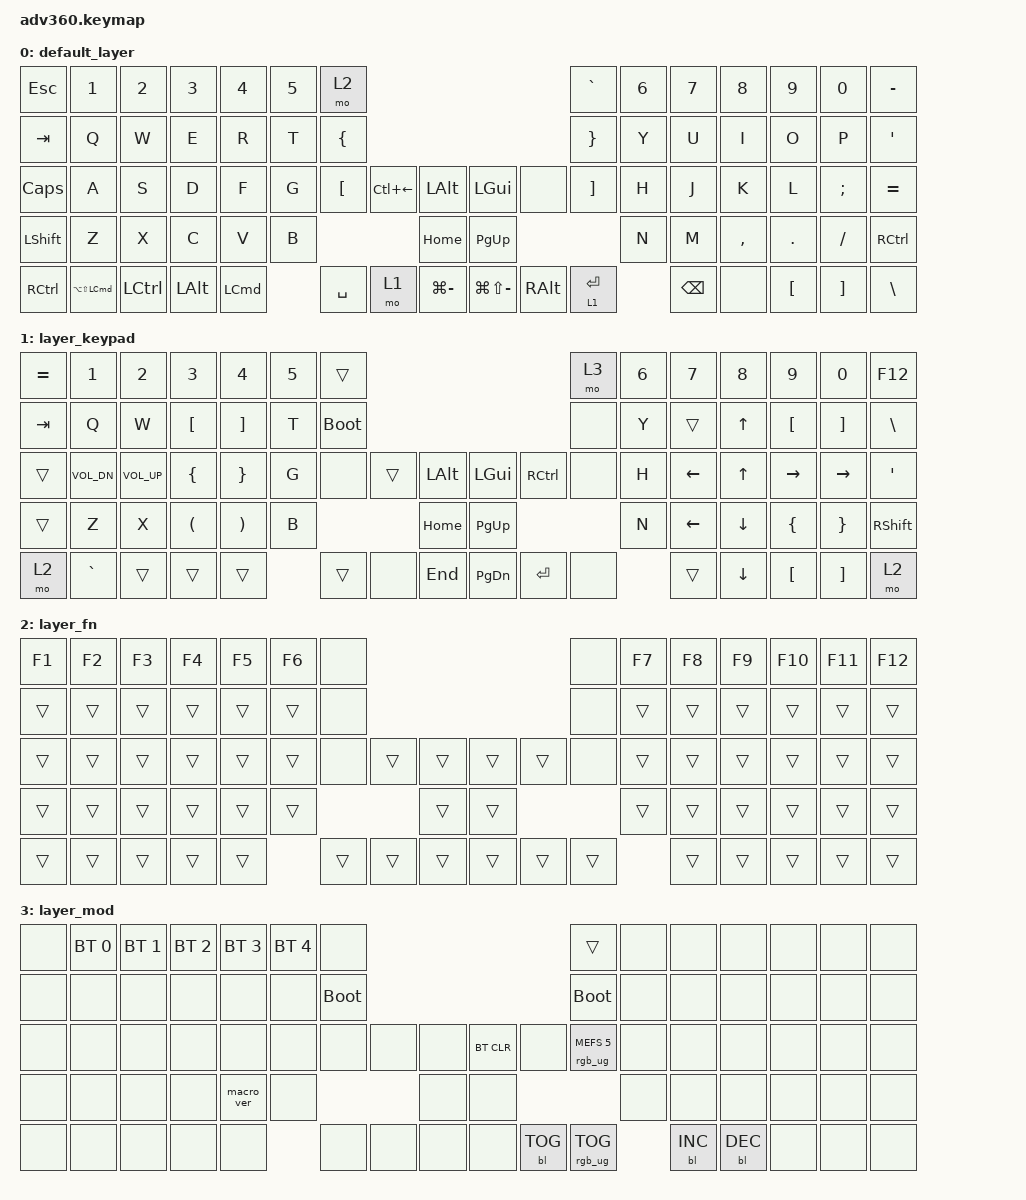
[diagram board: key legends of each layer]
/*
 * Copyright (c) 2020 The ZMK Contributors
 *
 * SPDX-License-Identifier: MIT
 */
/* THIS FILE WAS GENERATED!
 *
 * This file was generated automatically. You may or may not want to
 * edit it directly.
 */

#include <behaviors.dtsi>
#include <dt-bindings/zmk/backlight.h>
#include <dt-bindings/zmk/bt.h>
#include <dt-bindings/zmk/keys.h>
#include <dt-bindings/zmk/rgb.h>

/ {
    behaviors {
        #include "macros.dtsi"
    #include "version.dtsi"

        hm: homerow_mods {
            compatible = "zmk,behavior-hold-tap";
            label = "HOMEROW_MODS";
            #binding-cells = <2>;
            tapping-term-ms = <200>;
            quick_tap_ms = <175>;
            flavor = "tap-preferred";
            bindings = <&kp>, <&kp>;
        };
    };

    keymap {
        compatible = "zmk,keymap";

        default_layer {
            bindings = <
&kp ESC            &kp N1                    &kp N2            &kp N3        &kp N4            &kp N5  &mo 2                                                                                &kp GRAVE          &kp N6  &kp N7         &kp N8     &kp N9    &kp N0    &kp MINUS
&kp TAB            &kp Q                     &kp W             &kp E         &kp R             &kp T   &kp LEFT_BRACE                                                                       &kp RIGHT_BRACE    &kp Y   &kp U          &kp I      &kp O     &kp P     &kp APOS
&kp CAPS           &kp A                     &kp S             &kp D         &kp F             &kp G   &kp LEFT_BRACKET  &kp LC(LEFT)  &kp LALT           &kp LGUI           &none          &kp RIGHT_BRACKET  &kp H   &kp J          &kp K      &kp L     &kp SEMI  &kp EQUAL
&kp LSHFT          &kp Z                     &kp X             &kp C         &kp V             &kp B                                   &kp HOME           &kp PG_UP                                            &kp N   &kp M          &kp COMMA  &kp DOT   &kp FSLH  &kp RIGHT_CONTROL
&kp RIGHT_CONTROL  &kp LA(LS(LEFT_COMMAND))  &kp LEFT_CONTROL  &kp LEFT_ALT  &kp LEFT_COMMAND          &kp SPACE         &mo 1         &kp LG(MINUS)      &kp LG(LS(MINUS))  &kp RIGHT_ALT  &lt 1 ENTER                &kp BACKSPACE  &none      &kp LBKT  &kp RBKT  &kp BACKSLASH
            >;
        };

        layer_keypad {
            bindings = <
&kp EQUAL  &kp N1        &kp N2        &kp N3                &kp N4                 &kp N5  &trans                                                   &mo 3  &kp N6  &kp N7    &kp N8        &kp N9     &kp N0     &kp F12
&kp TAB    &kp Q         &kp W         &kp LEFT_BRACKET      &kp RIGHT_BRACKET      &kp T   &bootloader                                              &none  &kp Y   &trans    &kp UP_ARROW  &kp LBKT   &kp RBKT   &kp BSLH
&trans     &kp C_VOL_DN  &kp C_VOL_UP  &kp LEFT_BRACE        &kp RIGHT_BRACE        &kp G   &none        &trans  &kp LALT      &kp LGUI   &kp RCTRL  &none  &kp H   &kp LEFT  &kp UP_ARROW  &kp RIGHT  &kp RIGHT  &kp SQT
&trans     &kp Z         &kp X         &kp LEFT_PARENTHESIS  &kp RIGHT_PARENTHESIS  &kp B                        &kp HOME      &kp PG_UP                    &kp N   &kp LEFT  &kp DOWN      &kp LBRC   &kp RBRC   &kp RSHFT
&mo 2      &kp GRAVE     &trans        &trans                &trans                         &trans       &none   &kp END       &kp PG_DN  &kp ENTER  &none          &trans    &kp DOWN      &kp LBKT   &kp RBKT   &mo 2
            >;
        };

        layer_fn {
            bindings = <
&kp F1  &kp F2  &kp F3  &kp F4  &kp F5  &kp F6  &none                                       &none   &kp F7  &kp F8  &kp F9  &kp F10  &kp F11  &kp F12
&trans  &trans  &trans  &trans  &trans  &trans  &none                                       &none   &trans  &trans  &trans  &trans   &trans   &trans
&trans  &trans  &trans  &trans  &trans  &trans  &none   &trans  &trans      &trans  &trans  &none   &trans  &trans  &trans  &trans   &trans   &trans
&trans  &trans  &trans  &trans  &trans  &trans                  &trans      &trans                  &trans  &trans  &trans  &trans   &trans   &trans
&trans  &trans  &trans  &trans  &trans          &trans  &trans  &trans      &trans  &trans  &trans          &trans  &trans  &trans   &trans   &trans
            >;
        };

        layer_mod {
            bindings = <
&none  &bt BT_SEL 0  &bt BT_SEL 1  &bt BT_SEL 2  &bt BT_SEL 3  &bt BT_SEL 4  &none                                                  &trans                  &none  &none       &none       &none  &none  &none
&none  &none         &none         &none         &none         &none         &bootloader                                            &bootloader             &none  &none       &none       &none  &none  &none
&none  &none         &none         &none         &none         &none         &none        &none  &none      &bt BT_CLR  &none       &rgb_ug RGB_MEFS_CMD 5  &none  &none       &none       &none  &none  &none
&none  &none         &none         &none         &macro_ver    &none                             &none      &none                                           &none  &none       &none       &none  &none  &none
&none  &none         &none         &none         &none                       &none        &none  &none      &none       &bl BL_TOG  &rgb_ug RGB_TOG                &bl BL_INC  &bl BL_DEC  &none  &none  &none
            >;
        };
    };
};
